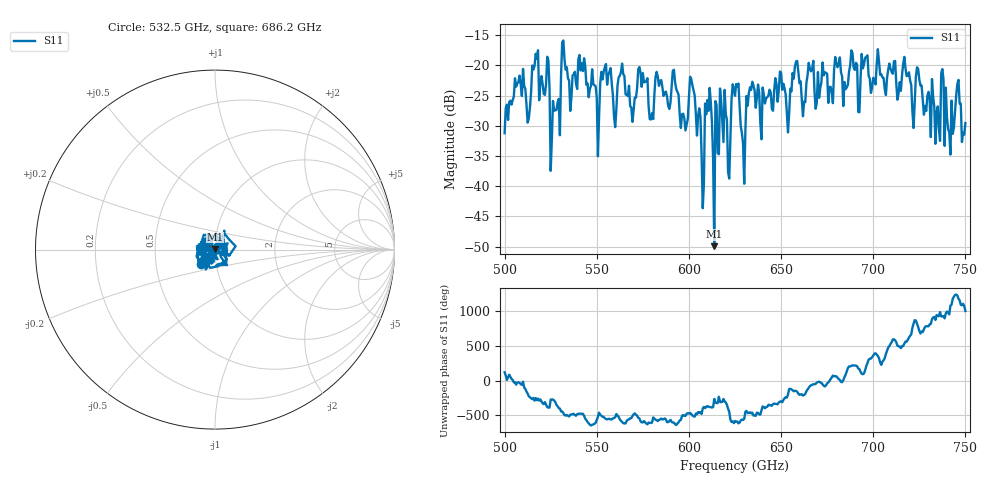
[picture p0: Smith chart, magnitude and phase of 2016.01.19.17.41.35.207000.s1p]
!Created with skrf (http://scikit-rf.org).
# GHz S RI R 50.0
!freq ReS11 ImS11
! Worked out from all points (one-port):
!   401 points, 500 GHz to 750 GHz, reference 50 ohm
!   lowest |S11| = -49.9 dB at 613.8 GHz (marker M1), VSWR 1.01, Z = 50 + j0.317 ohm
!   |S11| at or under -10 dB: start of sweep to end of sweep
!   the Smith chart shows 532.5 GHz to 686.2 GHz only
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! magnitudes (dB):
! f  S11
! 500 GHz  -31.2
! 506.9 GHz  -23.0
! 513.1 GHz  -28.8
! 516.9 GHz  -18.1
! 526.2 GHz  -25.9
! 531.2 GHz  -16.2
! 541.9 GHz  -19.7
! 550 GHz  -25.4
! 562.5 GHz  -21.7
! 569.4 GHz  -29.3
! 576.2 GHz  -22.7
! 579.4 GHz  -29.0
! 583.1 GHz  -21.9
! 593.8 GHz  -24.4
! 598.1 GHz  -30.8
! 601.9 GHz  -23.3
! 606.9 GHz  -34.9
! 611.2 GHz  -23.7
! 613.8 GHz  -49.9
! 618.1 GHz  -29.4
! 621.9 GHz  -38.7
! 625 GHz  -25.0
! 629.4 GHz  -33.0
! 633.8 GHz  -24.1
! 656.2 GHz  -21.3
! 687.5 GHz  -20.0
! 718.8 GHz  -21.7
! 750 GHz  -29.5
